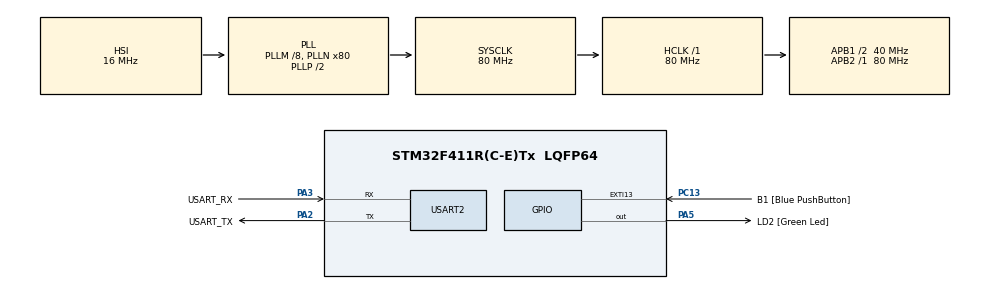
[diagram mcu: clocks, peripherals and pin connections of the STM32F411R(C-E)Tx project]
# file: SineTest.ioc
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Mcu.Family=STM32F4
Mcu.Name=STM32F411R(C-E)Tx
Mcu.Package=LQFP64
NVIC.PriorityGroup=NVIC_PRIORITYGROUP_0
PA13.GPIO_Label=TMS
PA13.Mode=Serial_Wire
PA13.Signal=SYS_JTMS-SWDIO
PA14.GPIO_Label=TCK
PA14.Mode=Serial_Wire
PA14.Signal=SYS_JTCK-SWCLK
PA2.GPIO_Label=USART_TX
PA2.Mode=Asynchronous
PA2.Signal=USART2_TX
PA3.GPIO_Label=USART_RX
PA3.Mode=Asynchronous
PA3.Signal=USART2_RX
PA5.GPIO_Label=LD2 [Green Led]
PA5.Signal=GPIO_Output
PB3.GPIO_Label=SWO
PB3.Signal=SYS_JTDO-SWO
PC13-ANTI_TAMP.GPIO_Label=B1 [Blue PushButton]
PC13-ANTI_TAMP.GPIO_ModeDefaultEXTI=GPIO_MODE_IT_FALLING
PC13-ANTI_TAMP.Signal=GPXTI13
PC14-OSC32_IN.Mode=LSE-External-Oscillator
PC14-OSC32_IN.Signal=RCC_OSC32_IN
PC15-OSC32_OUT.Mode=LSE-External-Oscillator
PC15-OSC32_OUT.Signal=RCC_OSC32_OUT
PH0\ -\ OSC_IN.Mode=HSE-External-Clock-Source
PH0\ -\ OSC_IN.Signal=RCC_OSC_IN
PH1\ -\ OSC_OUT.Mode=HSE-External-Clock-Source
PH1\ -\ OSC_OUT.Signal=RCC_OSC_OUT
ProjectManager.HeapSize=0x200
ProjectManager.StackSize=0x800
ProjectManager.TargetToolchain=STM32CubeIDE
RCC.48MHZClocksFreq_Value=40000000
RCC.AHBFreq_Value=80000000
RCC.APB1CLKDivider=RCC_HCLK_DIV2
RCC.APB1Freq_Value=40000000
RCC.APB1TimFreq_Value=80000000
RCC.APB2Freq_Value=80000000
RCC.APB2TimFreq_Value=80000000
RCC.CortexFreq_Value=80000000
RCC.FLatency-AdvancedSettings=FLASH_LATENCY_2
RCC.HCLKFreq_Value=80000000
RCC.HSE_VALUE=8000000
RCC.HSI_VALUE=16000000
RCC.PLLM=8
RCC.PLLN=80
RCC.SYSCLKFreq_VALUE=80000000
RCC.SYSCLKSource=RCC_SYSCLKSOURCE_PLLCLK
RCC.VCOOutputFreq_Value=160000000
STMicroelectronics.X-CUBE-AI.5.1.2.ActivationBufferSizeList=136
STMicroelectronics.X-CUBE-AI.5.1.2.HeapSize=0x200
STMicroelectronics.X-CUBE-AI.5.1.2.InternalRamActivationBufferMaxSize=AI_SINE_MODEL_DATA_ACTIVATIONS_SIZE
STMicroelectronics.X-CUBE-AI.5.1.2.LatestDirectoryUsed-c5d7f97d06a8a4b74189d04526bcfda7b4f00402b740695a5c34844e8f994361=C\:\\Users\\ezque\\JUPYTER\\TinyML\\X-Cube-AI\\SineWave
STMicroelectronics.X-CUBE-AI.5.1.2.MaximumNumberOfInputLayer=1
STMicroelectronics.X-CUBE-AI.5.1.2.MaximumNumberOfOutputLayer=1
STMicroelectronics.X-CUBE-AI.5.1.2.MaximumSizeOfInputLayer=AI_SINE_MODEL_IN_1_SIZE_BYTES
STMicroelectronics.X-CUBE-AI.5.1.2.MaximumSizeOfOutputLayer=AI_SINE_MODEL_OUT_1_SIZE_BYTES
STMicroelectronics.X-CUBE-AI.5.1.2.ModelActualCompression-c5d7f97d06a8a4b74189d04526bcfda7b4f00402b740695a5c34844e8f994361=0.0
STMicroelectronics.X-CUBE-AI.5.1.2.ModelCompression-c5d7f97d06a8a4b74189d04526bcfda7b4f00402b740695a5c34844e8f994361=1
STMicroelectronics.X-CUBE-AI.5.1.2.ModelFlashOccupation-c5d7f97d06a8a4b74189d04526bcfda7b4f00402b740695a5c34844e8f994361=1284
STMicroelectronics.X-CUBE-AI.5.1.2.ModelHashList=c5d7f97d06a8a4b74189d04526bcfda7b4f00402b740695a5c34844e8f994361
STMicroelectronics.X-CUBE-AI.5.1.2.ModelKind-c5d7f97d06a8a4b74189d04526bcfda7b4f00402b740695a5c34844e8f994361=TFLITE
STMicroelectronics.X-CUBE-AI.5.1.2.ModelMacc-c5d7f97d06a8a4b74189d04526bcfda7b4f00402b740695a5c34844e8f994361=320
STMicroelectronics.X-CUBE-AI.5.1.2.ModelName-c5d7f97d06a8a4b74189d04526bcfda7b4f00402b740695a5c34844e8f994361=sine_model
STMicroelectronics.X-CUBE-AI.5.1.2.ModelNameList=sine_model
STMicroelectronics.X-CUBE-AI.5.1.2.ModelRamOccupation-c5d7f97d06a8a4b74189d04526bcfda7b4f00402b740695a5c34844e8f994361=136
STMicroelectronics.X-CUBE-AI.5.1.2.ModelStructureFile-c5d7f97d06a8a4b74189d04526bcfda7b4f00402b740695a5c34844e8f994361=C\:\\Users\\ezque\\JUPYTER\\TinyML\\X-Cube-AI\\SineWave\\sine_model.tflite
STMicroelectronics.X-CUBE-AI.5.1.2.ModelType-c5d7f97d06a8a4b74189d04526bcfda7b4f00402b740695a5c34844e8f994361=Saved model
STMicroelectronics.X-CUBE-AI.5.1.2.StackSize=0x800
STMicroelectronics.X-CUBE-AI.5.1.2.WorkingBufferStartAddrList=0xFFFFFFFF
STMicroelectronics.X-CUBE-AI.5.1.2.XAaCUBEAaAICcArtificialOoIntelligenceJjCore=true
TIM4.Prescaler=80-1
USART2.VirtualMode=VM_ASYNC
VP_CRC_VS_CRC.Mode=CRC_Activate
VP_STMicroelectronics.X-CUBE-AI_VS_ArtificialOoIntelligenceJjXAaCUBEAaAI_5.1.2.Mode=ArtificialOoIntelligenceJjXAaCUBEAaAI
VP_TIM4_VS_ClockSourceINT.Mode=Internal
board=NUCLEO-F411RE

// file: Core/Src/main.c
/* USER CODE BEGIN Header */
/**
  ******************************************************************************
  * @file           : main.c
  * @brief          : Main program body
  ******************************************************************************
  * @attention
  *
  * Copyright (c) 2022 STMicroelectronics.
  * All rights reserved.
  *
  * This software is licensed under terms that can be found in the LICENSE file
  * in the root directory of this software component.
  * If no LICENSE file comes with this software, it is provided AS-IS.
  *
  ******************************************************************************
  */
/* USER CODE END Header */
#include "main.h"

/* USER CODE BEGIN Includes */

#include <stdio.h>

#include "ai_datatypes_defines.h"
#include "ai_platform.h"
#include "sine_model.h"
#include "sine_model_data.h"
/* USER CODE END Includes */

CRC_HandleTypeDef hcrc;

TIM_HandleTypeDef htim4;

UART_HandleTypeDef huart2;

void SystemClock_Config(void);
static void MX_GPIO_Init(void);
static void MX_USART2_UART_Init(void);
static void MX_CRC_Init(void);
static void MX_TIM4_Init(void);

int main(void)
{
  /* USER CODE BEGIN 1 */

	char buf[50];
	int buf_len=0;
	ai_error ai_err;
	ai_i32 nbatch;
	uint32_t timestamp;
	float y_val;

	// Chunk of memory used to hold intermediate values for neural network
	AI_ALIGNED(4) ai_u8 activations[AI_SINE_MODEL_DATA_ACTIVATIONS_SIZE];

	// Buffers used to store input and output tensors
	AI_ALIGNED(4) ai_i8 in_data[AI_SINE_MODEL_IN_1_SIZE_BYTES];
	AI_ALIGNED(4) ai_i8 out_data[AI_SINE_MODEL_OUT_1_SIZE_BYTES];

	// Pointer to our model
	ai_handle sine_model = AI_HANDLE_NULL;

	// Initialize wrapper structs that hold pointers to data and info about the data (tensor height, width, channels)
	ai_buffer ai_input[AI_SINE_MODEL_IN_NUM] = AI_SINE_MODEL_IN;
	ai_buffer ai_output[AI_SINE_MODEL_OUT_NUM] = AI_SINE_MODEL_OUT;

	// Set working memory and get weigths/biases from model
	ai_network_params ai_params = {
			AI_SINE_MODEL_DATA_WEIGHTS(ai_sine_model_data_weights_get()),
			AI_SINE_MODEL_DATA_ACTIVATIONS(activations)
	};

	// Set pointers wrapper structs to our data buffer
	ai_input[0].n_batches = 1;
	ai_input[0].data = AI_HANDLE_PTR(in_data);
	ai_output[0].n_batches = 1;
	ai_output[0].data = AI_HANDLE_PTR(out_data);

  /* USER CODE END 1 */

  /* MCU Configuration--------------------------------------------------------*/

  /* Reset of all peripherals, Initializes the Flash interface and the Systick. */
  HAL_Init();

  /* Configure the system clock */
  SystemClock_Config();

  /* Initialize all configured peripherals */
  MX_GPIO_Init();
  MX_USART2_UART_Init();
  MX_CRC_Init();
  MX_TIM4_Init();
  /* USER CODE BEGIN 2 */

  // Start timer/counter
  HAL_TIM_Base_Start(&htim4);

  // Greetings!
  buf_len = sprintf(buf, "\r\n\r\nSTM32 X-Cube-AI Test\r\n");
  HAL_UART_Transmit(&huart2, (uint8_t *)buf, buf_len, 100);

  // Create intance of neural network
  ai_err = ai_sine_model_create(&sine_model, AI_SINE_MODEL_DATA_CONFIG);
  if (ai_err.type != AI_ERROR_CODE_NONE){
	  buf_len = sprintf(buf,"Error: could not create NN instance\r\n");
	  HAL_UART_Transmit(&huart2, (uint8_t *)buf, buf_len, 100);
	  while(1);
  }

  // Initialize neural network
  if (!ai_sine_model_init(sine_model, &ai_params)){
	  buf_len = sprintf(buf,"Error: could not initialize NN\r\n");
	  HAL_UART_Transmit(&huart2, (uint8_t *)buf, buf_len, 100);
	  while(1);
  }

  /* USER CODE END 2 */

  /* Infinite loop */
  /* USER CODE BEGIN WHILE */
  while (1)
  {
	  // Fill input buffer (use test value)
	  for (uint32_t i = 0; i < AI_SINE_MODEL_IN_1_SIZE; i++){
		  ((ai_float *)in_data)[i] = (ai_float)3.1416f;
	  }

	  // Get current timestamp
	  timestamp = htim4.Instance->CNT;

	  // Perfom inference
	  nbatch = ai_sine_model_run(sine_model, &ai_input[0], &ai_output[0]);
	  if (nbatch != 1){
		  buf_len = sprintf(buf,"Error: could not run inference\r\n");
		  HAL_UART_Transmit(&huart2, (uint8_t *)buf, buf_len, 100);
	  }

	  // Read output (predicted y) of NN
	  y_val = ((float *)out_data)[0];

	  // Print output of NN along with inference time (microseconds)
	  buf_len = sprintf(buf,
			  	  	  	  	  "Output: %f | Duration: %lu\r\n",
							  y_val,
							  htim4.Instance->CNT - timestamp);
	  HAL_UART_Transmit(&huart2, (uint8_t *)buf, buf_len, 100);

	  HAL_Delay(500);

    /* USER CODE END WHILE */

  }
}

void SystemClock_Config(void)
{
  RCC_OscInitTypeDef RCC_OscInitStruct = {0};
  RCC_ClkInitTypeDef RCC_ClkInitStruct = {0};

  /** Configure the main internal regulator output voltage
  */
  __HAL_RCC_PWR_CLK_ENABLE();
  __HAL_PWR_VOLTAGESCALING_CONFIG(PWR_REGULATOR_VOLTAGE_SCALE1);

  /** Initializes the RCC Oscillators according to the specified parameters
  * in the RCC_OscInitTypeDef structure.
  */
  RCC_OscInitStruct.OscillatorType = RCC_OSCILLATORTYPE_HSI;
  RCC_OscInitStruct.HSIState = RCC_HSI_ON;
  RCC_OscInitStruct.HSICalibrationValue = RCC_HSICALIBRATION_DEFAULT;
  RCC_OscInitStruct.PLL.PLLState = RCC_PLL_ON;
  RCC_OscInitStruct.PLL.PLLSource = RCC_PLLSOURCE_HSI;
  RCC_OscInitStruct.PLL.PLLM = 8;
  RCC_OscInitStruct.PLL.PLLN = 80;
  RCC_OscInitStruct.PLL.PLLP = RCC_PLLP_DIV2;
  RCC_OscInitStruct.PLL.PLLQ = 4;
  if (HAL_RCC_OscConfig(&RCC_OscInitStruct) != HAL_OK)
  {
    Error_Handler();
  }

  /** Initializes the CPU, AHB and APB buses clocks
  */
  RCC_ClkInitStruct.ClockType = RCC_CLOCKTYPE_HCLK|RCC_CLOCKTYPE_SYSCLK
                              |RCC_CLOCKTYPE_PCLK1|RCC_CLOCKTYPE_PCLK2;
  RCC_ClkInitStruct.SYSCLKSource = RCC_SYSCLKSOURCE_PLLCLK;
  RCC_ClkInitStruct.AHBCLKDivider = RCC_SYSCLK_DIV1;
  RCC_ClkInitStruct.APB1CLKDivider = RCC_HCLK_DIV2;
  RCC_ClkInitStruct.APB2CLKDivider = RCC_HCLK_DIV1;

  if (HAL_RCC_ClockConfig(&RCC_ClkInitStruct, FLASH_LATENCY_2) != HAL_OK)
  {
    Error_Handler();
  }
}

static void MX_CRC_Init(void)
{

  hcrc.Instance = CRC;
  if (HAL_CRC_Init(&hcrc) != HAL_OK)
  {
    Error_Handler();
  }

}

static void MX_TIM4_Init(void)
{

  TIM_ClockConfigTypeDef sClockSourceConfig = {0};
  TIM_MasterConfigTypeDef sMasterConfig = {0};

  htim4.Instance = TIM4;
  htim4.Init.Prescaler = 80-1;
  htim4.Init.CounterMode = TIM_COUNTERMODE_UP;
  htim4.Init.Period = 65535;
  htim4.Init.ClockDivision = TIM_CLOCKDIVISION_DIV1;
  htim4.Init.AutoReloadPreload = TIM_AUTORELOAD_PRELOAD_DISABLE;
  if (HAL_TIM_Base_Init(&htim4) != HAL_OK)
  {
    Error_Handler();
  }
  sClockSourceConfig.ClockSource = TIM_CLOCKSOURCE_INTERNAL;
  if (HAL_TIM_ConfigClockSource(&htim4, &sClockSourceConfig) != HAL_OK)
  {
    Error_Handler();
  }
  sMasterConfig.MasterOutputTrigger = TIM_TRGO_RESET;
  sMasterConfig.MasterSlaveMode = TIM_MASTERSLAVEMODE_DISABLE;
  if (HAL_TIMEx_MasterConfigSynchronization(&htim4, &sMasterConfig) != HAL_OK)
  {
    Error_Handler();
  }

}

static void MX_USART2_UART_Init(void)
{

  huart2.Instance = USART2;
  huart2.Init.BaudRate = 115200;
  huart2.Init.WordLength = UART_WORDLENGTH_8B;
  huart2.Init.StopBits = UART_STOPBITS_1;
  huart2.Init.Parity = UART_PARITY_NONE;
  huart2.Init.Mode = UART_MODE_TX_RX;
  huart2.Init.HwFlowCtl = UART_HWCONTROL_NONE;
  huart2.Init.OverSampling = UART_OVERSAMPLING_16;
  if (HAL_UART_Init(&huart2) != HAL_OK)
  {
    Error_Handler();
  }

}

static void MX_GPIO_Init(void)
{
  GPIO_InitTypeDef GPIO_InitStruct = {0};

  /* GPIO Ports Clock Enable */
  __HAL_RCC_GPIOC_CLK_ENABLE();
  __HAL_RCC_GPIOH_CLK_ENABLE();
  __HAL_RCC_GPIOA_CLK_ENABLE();
  __HAL_RCC_GPIOB_CLK_ENABLE();

  /*Configure GPIO pin Output Level */
  HAL_GPIO_WritePin(LD2_GPIO_Port, LD2_Pin, GPIO_PIN_RESET);

  /*Configure GPIO pin : B1_Pin */
  GPIO_InitStruct.Pin = B1_Pin;
  GPIO_InitStruct.Mode = GPIO_MODE_IT_FALLING;
  GPIO_InitStruct.Pull = GPIO_NOPULL;
  HAL_GPIO_Init(B1_GPIO_Port, &GPIO_InitStruct);

  /*Configure GPIO pin : LD2_Pin */
  GPIO_InitStruct.Pin = LD2_Pin;
  GPIO_InitStruct.Mode = GPIO_MODE_OUTPUT_PP;
  GPIO_InitStruct.Pull = GPIO_NOPULL;
  GPIO_InitStruct.Speed = GPIO_SPEED_FREQ_LOW;
  HAL_GPIO_Init(LD2_GPIO_Port, &GPIO_InitStruct);

}

void Error_Handler(void)
{
  __disable_irq();
  while (1)
  {
  }
}
